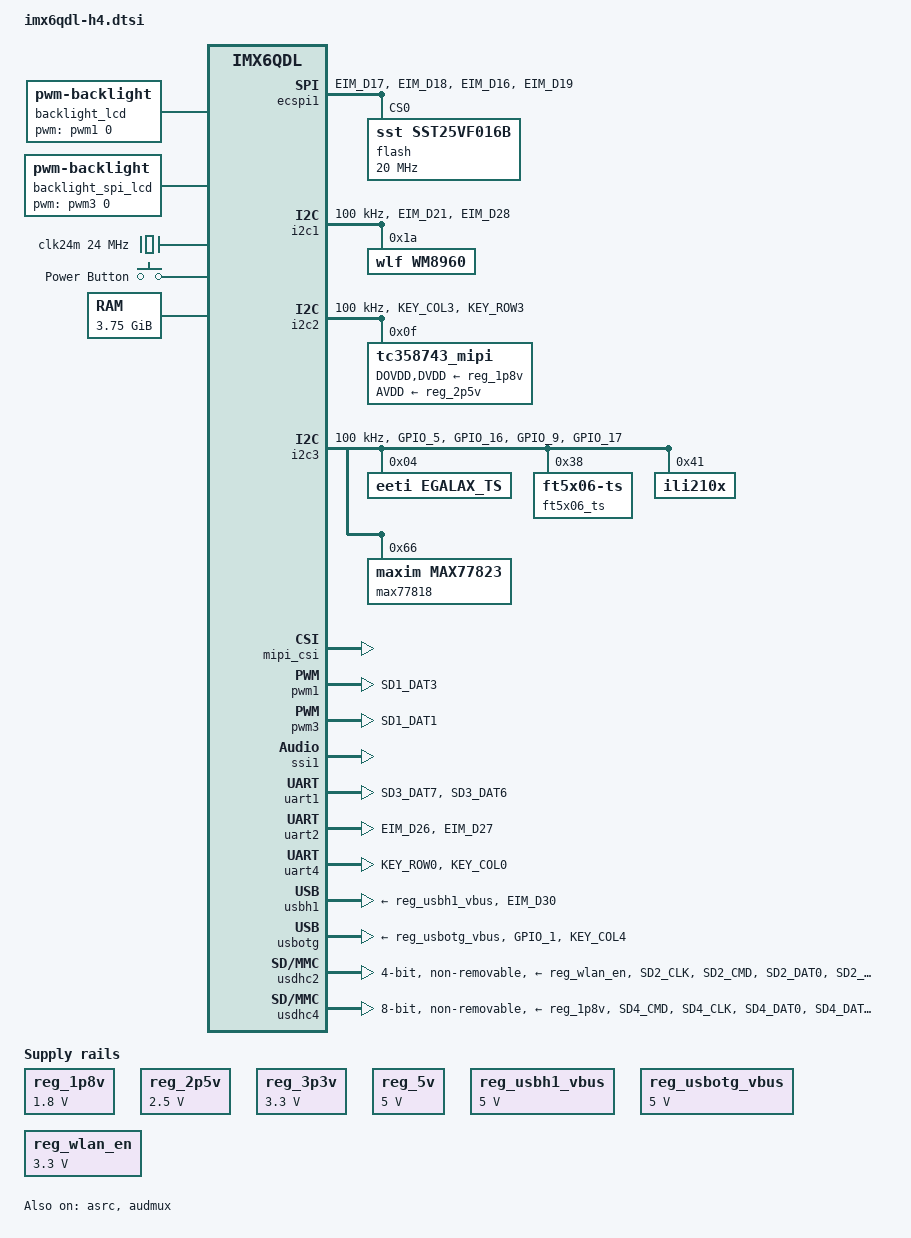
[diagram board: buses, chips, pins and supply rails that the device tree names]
/*
 * Copyright 2015 Boundary Devices
 *
 * The code contained herein is licensed under the GNU General Public
 * License. You may obtain a copy of the GNU General Public License
 * Version 2 or later at the following locations:
 *
 * http://www.opensource.org/licenses/gpl-license.html
 * http://www.gnu.org/copyleft/gpl.html
 */
#include <dt-bindings/gpio/gpio.h>
#include <dt-bindings/input/input.h>

&iomuxc {
	pinctrl-names = "default";
	pinctrl-0 = <&pinctrl_hog>;

	iomuxc_imx6q_h4: iomuxc-imx6q-h4grp {
		status = "okay";
	};
};

&iomuxc_imx6q_h4 {
	pinctrl_audmux3: audmux3grp {
		fsl,pins = <
			MX6QDL_PAD_CSI0_DAT7__AUD3_RXD		0x130b0
			MX6QDL_PAD_CSI0_DAT4__AUD3_TXC		0x130b0
			MX6QDL_PAD_CSI0_DAT5__AUD3_TXD		0x110b0
			MX6QDL_PAD_CSI0_DAT6__AUD3_TXFS		0x130b0
		>;
	};

	pinctrl_audmux5: audmux5grp {
		fsl,pins = <
			MX6QDL_PAD_KEY_ROW1__AUD5_RXD		0x130b0
			MX6QDL_PAD_EIM_D24__AUD5_RXFS		0x130b0
			MX6QDL_PAD_EIM_D25__AUD5_RXC		0x130b0
		>;
	};

	pinctrl_ecspi1: ecspi1grp {
		fsl,pins = <
			MX6QDL_PAD_EIM_D17__ECSPI1_MISO		0x100b1
			MX6QDL_PAD_EIM_D18__ECSPI1_MOSI		0x100b1
			MX6QDL_PAD_EIM_D16__ECSPI1_SCLK		0x100b1
#define GP_ECSPI1_NOR_CS	<&gpio3 19 GPIO_ACTIVE_LOW>
			MX6QDL_PAD_EIM_D19__GPIO3_IO19		0x0b0b1
		>;
	};

	pinctrl_ecspi2: ecspi2grp {
		fsl,pins = <
			MX6QDL_PAD_CSI0_DAT10__ECSPI2_MISO	0x100b1
			MX6QDL_PAD_CSI0_DAT9__ECSPI2_MOSI	0x100b1
			MX6QDL_PAD_CSI0_DAT8__ECSPI2_SCLK	0x100b1
#define GP_ECSPI2_CS		<&gpio5 29 GPIO_ACTIVE_LOW>
			MX6QDL_PAD_CSI0_DAT11__GPIO5_IO29	0x0b0b1
		>;
	};

	pinctrl_gpio_keys: gpio-keysgrp {
		fsl,pins = <
#define GP_GPIOKEY_POWER	<&gpio1 2 GPIO_ACTIVE_LOW>
			MX6QDL_PAD_GPIO_2__GPIO1_IO02		0x1b0b0
#define GP_GPIOKEY_1		<&gpio3 7 GPIO_ACTIVE_LOW>
			MX6QDL_PAD_EIM_DA7__GPIO3_IO07		0x1b0b0
#define GP_GPIOKEY_2		<&gpio3 8 GPIO_ACTIVE_LOW>
			MX6QDL_PAD_EIM_DA8__GPIO3_IO08		0x1b0b0
#define GP_GPIOKEY_3		<&gpio3 9 GPIO_ACTIVE_LOW>
			MX6QDL_PAD_EIM_DA9__GPIO3_IO09		0x1b0b0
#define GP_VBUS_GOOD		<&gpio3 15 GPIO_ACTIVE_LOW>
			MX6QDL_PAD_EIM_DA15__GPIO3_IO15		0x1b0b0
#define GP_SPARE		<&gpio1 16 GPIO_ACTIVE_LOW>
			MX6QDL_PAD_SD1_DAT0__GPIO1_IO16		0x1b0b0
		>;
	};

	pinctrl_hog: hoggrp {
		fsl,pins = <
#define GP_MAIN_POWER_EN	<&gpio1 19 GPIO_ACTIVE_HIGH>
			MX6QDL_PAD_SD1_DAT2__GPIO1_IO19		0x1b0b0
			MX6QDL_PAD_EIM_A25__HDMI_TX_CEC_LINE	0x1f8b0
#define GP_TP4			<&gpio4 20 GPIO_ACTIVE_LOW>
			MX6QDL_PAD_DI0_PIN4__GPIO4_IO20		0x1b0b0
#define GP_TP5			<&gpio4 17 GPIO_ACTIVE_LOW>
			MX6QDL_PAD_DI0_PIN15__GPIO4_IO17	0x1b0b0
#define GP_TP6			<&gpio1 18 GPIO_ACTIVE_LOW>
			MX6QDL_PAD_SD1_CMD__GPIO1_IO18		0x1b0b0
#define GP_TP7			<&gpio1 30 GPIO_ACTIVE_LOW>
			MX6QDL_PAD_ENET_TXD0__GPIO1_IO30	0x1b0b0
#define GP_TP8			<&gpio3 13 GPIO_ACTIVE_LOW>
			MX6QDL_PAD_EIM_DA13__GPIO3_IO13		0x1b0b0
#define GP_TP9			<&gpio3 14 GPIO_ACTIVE_LOW>
			MX6QDL_PAD_EIM_DA14__GPIO3_IO14		0x1b0b0
#define GP_TP10			<&gpio2 7 GPIO_ACTIVE_LOW>
			MX6QDL_PAD_NANDF_D7__GPIO2_IO07		0x1b0b0
		>;
	};

	pinctrl_i2c1: i2c1grp {
		fsl,pins = <
			MX6QDL_PAD_EIM_D21__I2C1_SCL		0x4001b8b1
			MX6QDL_PAD_EIM_D28__I2C1_SDA		0x4001b8b1
		>;
	};

	pinctrl_i2c1_wm8960: i2c1-wm8960grp {
		fsl,pins = <
			MX6QDL_PAD_GPIO_0__CCM_CLKO1		0x000b0		/* sys_mclk */
		>;
	};

	pinctrl_i2c2: i2c2grp {
		fsl,pins = <
			MX6QDL_PAD_KEY_COL3__I2C2_SCL		0x4001b8b1
			MX6QDL_PAD_KEY_ROW3__I2C2_SDA		0x4001b8b1
		>;
	};

	pinctrl_i2c2_tc358743_mipi: i2c2-tc358743_mipigrp {
		fsl,pins = <
#define GP_TC3587_RESET		<&gpio6 1 GPIO_ACTIVE_LOW>
			MX6QDL_PAD_CSI0_DAT15__GPIO6_IO01	0x030b0
#define GPIRQ_TC3587		<&gpio6 0 IRQ_TYPE_LEVEL_LOW>
			MX6QDL_PAD_CSI0_DAT14__GPIO6_IO00	0x0b0b0
#define GP_HDMI_POWER_DET	<&gpio4 8 GPIO_ACTIVE_HIGH>
			MX6QDL_PAD_KEY_COL1__GPIO4_IO08		0x1b0b0
			MX6QDL_PAD_GPIO_3__CCM_CLKO2		0x000b0
		>;
	};

	pinctrl_i2c3: i2c3grp {
		fsl,pins = <
			MX6QDL_PAD_GPIO_5__I2C3_SCL		0x4001b8b1
			MX6QDL_PAD_GPIO_16__I2C3_SDA		0x4001b8b1
#define GPIRQ_J8		<&gpio1 9 IRQ_TYPE_EDGE_FALLING>
#define GP_J8			<&gpio1 9 GPIO_ACTIVE_LOW>
			MX6QDL_PAD_GPIO_9__GPIO1_IO09		0x1b0b0
#define GP_J8_RESET		<&gpio7 12 GPIO_ACTIVE_LOW>
			MX6QDL_PAD_GPIO_17__GPIO7_IO12		0x1b0b0
		>;
	};

	pinctrl_i2c3_max77818: i2c3_max77818grp {
		fsl,pins = <
#define GPIRQ_MAX77818_INOKB		<&gpio3 4 IRQ_TYPE_LEVEL_LOW>
			MX6QDL_PAD_EIM_DA4__GPIO3_IO04		0x1b0b0
#define GPIRQ_MAX77818_WCINOKB		<&gpio3 5 IRQ_TYPE_LEVEL_LOW>
			MX6QDL_PAD_EIM_DA5__GPIO3_IO05		0x1b0b0
#define GPIRQ_MAX77818_INTB		<&gpio3 6 IRQ_TYPE_LEVEL_LOW>
			MX6QDL_PAD_EIM_DA6__GPIO3_IO06		0x1b0b0
		>;
	};

	pinctrl_lcd: lcdgrp {
		fsl,pins = <
			MX6QDL_PAD_DI0_DISP_CLK__IPU1_DI0_DISP_CLK	0x10
			MX6QDL_PAD_DI0_PIN2__IPU1_DI0_PIN02		0x10
			MX6QDL_PAD_DI0_PIN3__IPU1_DI0_PIN03		0x10
			MX6QDL_PAD_DISP0_DAT0__IPU1_DISP0_DATA00	0x10
			MX6QDL_PAD_DISP0_DAT1__IPU1_DISP0_DATA01	0x10
			MX6QDL_PAD_DISP0_DAT2__IPU1_DISP0_DATA02	0x10
			MX6QDL_PAD_DISP0_DAT3__IPU1_DISP0_DATA03	0x10
			MX6QDL_PAD_DISP0_DAT4__IPU1_DISP0_DATA04	0x10
			MX6QDL_PAD_DISP0_DAT5__IPU1_DISP0_DATA05	0x10
			MX6QDL_PAD_DISP0_DAT6__IPU1_DISP0_DATA06	0x10
			MX6QDL_PAD_DISP0_DAT7__IPU1_DISP0_DATA07	0x10
			MX6QDL_PAD_DISP0_DAT8__IPU1_DISP0_DATA08	0x10
			MX6QDL_PAD_DISP0_DAT9__IPU1_DISP0_DATA09	0x10
			MX6QDL_PAD_DISP0_DAT10__IPU1_DISP0_DATA10	0x10
			MX6QDL_PAD_DISP0_DAT11__IPU1_DISP0_DATA11	0x10
			MX6QDL_PAD_DISP0_DAT12__IPU1_DISP0_DATA12	0x10
			MX6QDL_PAD_DISP0_DAT13__IPU1_DISP0_DATA13	0x10
			MX6QDL_PAD_DISP0_DAT14__IPU1_DISP0_DATA14	0x10
			MX6QDL_PAD_DISP0_DAT15__IPU1_DISP0_DATA15	0x10
			MX6QDL_PAD_DISP0_DAT16__IPU1_DISP0_DATA16	0x10
			MX6QDL_PAD_DISP0_DAT17__IPU1_DISP0_DATA17	0x10
			MX6QDL_PAD_DISP0_DAT18__IPU1_DISP0_DATA18	0x10
			MX6QDL_PAD_DISP0_DAT19__IPU1_DISP0_DATA19	0x10
			MX6QDL_PAD_DISP0_DAT20__IPU1_DISP0_DATA20	0x10
			MX6QDL_PAD_DISP0_DAT21__IPU1_DISP0_DATA21	0x10
			MX6QDL_PAD_DISP0_DAT22__IPU1_DISP0_DATA22	0x10
			MX6QDL_PAD_DISP0_DAT23__IPU1_DISP0_DATA23	0x10
		>;
	};

	/* lcd backlight */
	pinctrl_pwm1: pwm1grp {
		fsl,pins = <
			MX6QDL_PAD_SD1_DAT3__PWM1_OUT		0x030b1
		>;
	};

	pinctrl_pwm2: pwm2grp {
		fsl,pins = <
			MX6QDL_PAD_SD1_DAT2__PWM2_OUT		0x030b1
		>;
	};

	/* spi lcd backlight */
	pinctrl_pwm3: pwm3grp {
		fsl,pins = <
			MX6QDL_PAD_SD1_DAT1__PWM3_OUT		0x030b1
		>;
	};

	pinctrl_reg_5v: reg-5vgrp {
		fsl,pins = <
#define GP_REG_5V	<&gpio3 3 GPIO_ACTIVE_HIGH>
			MX6QDL_PAD_EIM_DA3__GPIO3_IO03		0x030b0
		>;
	};

	pinctrl_reg_usbh1_vbus: reg-usbh1-vbusgrp {
		fsl,pins = <
#define GP_REG_USBH1	<&gpio2 19 GPIO_ACTIVE_HIGH>
			MX6QDL_PAD_EIM_A19__GPIO2_IO19		0x030b0
		>;
	};

	pinctrl_reg_usbotg_vbus: reg-usbotg-vbusgrp {
		fsl,pins = <
#define GP_REG_USBOTG	<&gpio3 22 GPIO_ACTIVE_HIGH>
			MX6QDL_PAD_EIM_D22__GPIO3_IO22		0x030b0
		>;
	};

	pinctrl_reg_wlan_en: reg-wlan-engrp {
		fsl,pins = <
#define GP_REG_WLAN_EN	<&gpio6 14 GPIO_ACTIVE_HIGH>
			MX6QDL_PAD_NANDF_CS1__GPIO6_IO14	0x030b0
		>;
	};

	pinctrl_uart1: uart1grp {
		fsl,pins = <
			MX6QDL_PAD_SD3_DAT7__UART1_TX_DATA	0x1b0b1
			MX6QDL_PAD_SD3_DAT6__UART1_RX_DATA	0x1b0b1
		>;
	};

	pinctrl_uart2: uart2grp {
		fsl,pins = <
			MX6QDL_PAD_EIM_D26__UART2_TX_DATA	0x1b0b1
			MX6QDL_PAD_EIM_D27__UART2_RX_DATA	0x1b0b1
		>;
	};

	pinctrl_uart4: uart4grp {
		fsl,pins = <
			MX6QDL_PAD_KEY_ROW0__UART4_TX_DATA	0x1b0b1
			MX6QDL_PAD_KEY_COL0__UART4_RX_DATA	0x1b0b1
		>;
	};

	pinctrl_usbh1: usbh1grp {
		fsl,pins = <
			MX6QDL_PAD_EIM_D30__USB_H1_OC		0x1b0b0
		>;
	};

	pinctrl_usbotg: usbotggrp {
		fsl,pins = <
			MX6QDL_PAD_GPIO_1__USB_OTG_ID		0x17059
			MX6QDL_PAD_KEY_COL4__USB_OTG_OC		0x1b0b0
		>;
	};

	/* Murata wifi */
	pinctrl_usdhc2: usdhc2grp {
		fsl,pins = <
			MX6QDL_PAD_SD2_CLK__SD2_CLK		0x10071
			MX6QDL_PAD_SD2_CMD__SD2_CMD		0x17071
			MX6QDL_PAD_SD2_DAT0__SD2_DATA0		0x17071
			MX6QDL_PAD_SD2_DAT1__SD2_DATA1		0x17071
			MX6QDL_PAD_SD2_DAT2__SD2_DATA2		0x17071
			MX6QDL_PAD_SD2_DAT3__SD2_DATA3		0x17071
			MX6QDL_PAD_SD1_CLK__OSC32K_32K_OUT	0x000b0		/* slow clock */
		>;
	};

	pinctrl_usdhc4: usdhc4grp {
		fsl,pins = <
			MX6QDL_PAD_SD4_CMD__SD4_CMD		0x17059
			MX6QDL_PAD_SD4_CLK__SD4_CLK		0x10059
			MX6QDL_PAD_SD4_DAT0__SD4_DATA0		0x17059
			MX6QDL_PAD_SD4_DAT1__SD4_DATA1		0x17059
			MX6QDL_PAD_SD4_DAT2__SD4_DATA2		0x17059
			MX6QDL_PAD_SD4_DAT3__SD4_DATA3		0x17059
			MX6QDL_PAD_SD4_DAT4__SD4_DATA4		0x17059
			MX6QDL_PAD_SD4_DAT5__SD4_DATA5		0x17059
			MX6QDL_PAD_SD4_DAT6__SD4_DATA6		0x17059
			MX6QDL_PAD_SD4_DAT7__SD4_DATA7		0x17059
		>;
	};

	pinctrl_wlan: wlangrp {
		fsl,pins = <
#define GPIRQ_WLAN	<&gpio6 11 IRQ_TYPE_LEVEL_HIGH>
			MX6QDL_PAD_NANDF_CS0__GPIO6_IO11	0x100b0
			MX6QDL_PAD_NANDF_CS2__GPIO6_IO15	0x100b0
		>;
	};
};

/ {
	aliases {
		backlight_lcd = &backlight_lcd;
		fb_lcd = &fb_lcd;
		lcd = &lcd;
		mmc0 = &usdhc4;
		mmc1 = &usdhc2;
		mxcfb0 = &fb_lcd;
		pwm_lcd = &pwm1;
	};

	backlight_lcd: backlight_lcd {
		brightness-levels = <0 10 20 30 40 50 60 70 80 90 100>;
		compatible = "pwm-backlight";
		default-brightness-level = <10>;
		display = <&fb_lcd>;
		pwms = <&pwm1 0 5000000>;
	};

	backlight_spi_lcd {
		brightness-levels = <0 10 20 30 40 50 60 70 80 90 100>;
		compatible = "pwm-backlight";
		default-brightness-level = <10>;
		display = <&fb_lcd>;
		pwms = <&pwm3 0 5000000>;
	};
/*
	backlight_spare: backlight_spare {
		brightness-levels = <0 10 20 30 40 50 60 70 80 90 100>;
		compatible = "pwm-backlight";
		default-brightness-level = <10>;
		pwms = <&pwm2 0 5000000>;
	};
*/
	clocks {
		clk24m: clk24m {
			compatible = "fixed-clock";
			#clock-cells = <0>;
			clock-frequency = <24000000>;
		};
	};

	fb_lcd: fb@0 {
		compatible = "fsl,mxc_sdc_fb";
		disp_dev = "lcd";
		interface_pix_fmt = "RGB666";
		default_bpp = <16>;
		int_clk = <0>;
		late_init = <0>;
		status = "disabled";
	};

	gpio-keys {
		compatible = "gpio-keys";
		pinctrl-names = "default";
		pinctrl-0 = <&pinctrl_gpio_keys>;

		power {
			label = "Power Button";
			gpios = GP_GPIOKEY_POWER;
			linux,code = <KEY_POWER>;	/* or KEY_SEARCH */
			gpio-key,wakeup;
		};
	};

	lcd: lcd@0 {
		compatible = "fsl,lcd";
		ipu_id = <0>;
		disp_id = <0>;
		default_ifmt = "RGB24";
		pinctrl-names = "default";
		pinctrl-0 = <&pinctrl_lcd>;
		status = "okay";
	};

	memory {
		reg = <0x10000000 0xeffffc00>;
	};

	regulators {
		compatible = "simple-bus";
		#address-cells = <1>;
		#size-cells = <0>;

		reg_1p8v: regulator@0 {
			compatible = "regulator-fixed";
			reg = <0>;
			regulator-name = "1P8V";
			regulator-min-microvolt = <1800000>;
			regulator-max-microvolt = <1800000>;
			regulator-always-on;
		};

		reg_2p5v: regulator@1 {
			compatible = "regulator-fixed";
			reg = <1>;
			regulator-name = "2P5V";
			regulator-min-microvolt = <2500000>;
			regulator-max-microvolt = <2500000>;
			regulator-always-on;
		};

		reg_3p3v: regulator@2 {
			compatible = "regulator-fixed";
			reg = <2>;
			regulator-name = "3P3V";
			regulator-min-microvolt = <3300000>;
			regulator-max-microvolt = <3300000>;
			regulator-always-on;
		};

		reg_5v: regulator@3 {
			compatible = "regulator-fixed";
			reg = <3>;
			pinctrl-names = "default";
			pinctrl-0 = <&pinctrl_reg_5v>;
			regulator-name = "5V";
			regulator-min-microvolt = <5000000>;
			regulator-max-microvolt = <5000000>;
			gpio = GP_REG_5V;
			enable-active-high;
			regulator-always-on;
		};

		reg_usbh1_vbus: regulator@4 {
			compatible = "regulator-fixed";
			reg = <4>;
			pinctrl-names = "default";
			pinctrl-0 = <&pinctrl_reg_usbh1_vbus>;
			regulator-name = "usbh1_vbus";
			regulator-min-microvolt = <5000000>;
			regulator-max-microvolt = <5000000>;
			gpio = GP_REG_USBH1;
			enable-active-high;
		};

		reg_usbotg_vbus: regulator@5 {
			compatible = "regulator-fixed";
			reg = <5>;
			pinctrl-names = "default";
			pinctrl-0 = <&pinctrl_reg_usbotg_vbus>;
			regulator-name = "usbotg_vbus";
			regulator-min-microvolt = <5000000>;
			regulator-max-microvolt = <5000000>;
			gpio = GP_REG_USBOTG;
			enable-active-high;
		};

		reg_wlan_en: regulator@6 {
			compatible = "regulator-fixed";
			reg = <6>;
			pinctrl-names = "default";
			pinctrl-0 = <&pinctrl_reg_wlan_en>;
			regulator-name = "wlan-en";
			regulator-min-microvolt = <3300000>;
			regulator-max-microvolt = <3300000>;
			gpio = GP_REG_WLAN_EN;
			startup-delay-us = <70000>;
			enable-active-high;
		};
	};

	sound {
		compatible = "fsl,imx6q-h4-wm8960",
			     "fsl,imx-audio-wm8960";
		model = "wm8960-audio";
		cpu-dai = <&ssi1>;
		audio-codec = <&wm8960>;
#ifdef USE_ASRC
		asrc-controller = <&asrc>;
#endif
		codec-master;
		hp-det = <4 0>;
		audio-routing =
			"Ext Spk", "SPK_LP",
			"Ext Spk", "SPK_LN"
#ifdef USE_ASRC
			,"CPU-Playback", "ASRC-Playback",
			"Playback", "CPU-Playback",
			"ASRC-Capture", "CPU-Capture",
			"CPU-Capture", "Capture"
#endif
			;
		mux-int-port = <1>;
		mux-ext-port = <3>;
	};

	v4l2_cap_0 {
		compatible = "fsl,imx6q-v4l2-capture";
		ipu_id = <0>;
		csi_id = <0>;
		mipi_camera = <1>;
		mclk_source = <0>;
		status = "okay";
	};

	v4l2_out {
		compatible = "fsl,mxc_v4l2_output";
		status = "okay";
	};

	wlan {
		compatible = "murata";
		pinctrl-names = "default";
		pinctrl-0 = <&pinctrl_wlan>;
		interrupts-extended = GPIRQ_WLAN; 
	};
};

#ifdef USE_ASRC
&asrc {
	status = "okay";
};
#endif

&audmux {
	pinctrl-names = "default";
	pinctrl-0 = <&pinctrl_audmux3>;
	status = "okay";
};

&clks {
	assigned-clocks        = <&clks IMX6QDL_CLK_IPU2_SEL>,      <&clks IMX6QDL_CLK_IPU2_PODF>, <&clks IMX6QDL_CLK_CKO2_PODF>, <&clks IMX6QDL_CLK_CKO2_SEL>;
	assigned-clock-parents = <&clks IMX6QDL_CLK_PLL3_PFD1_540M>, <&clks IMX6QDL_CLK_IPU2_SEL>, <&clks IMX6QDL_CLK_CKO2_SEL>, <&clks IMX6QDL_CLK_IPU2>;
	assigned-clock-rates = <0>, <135000000>, <27000000>;
};

&ecspi1 {
	pinctrl-names = "default";
	pinctrl-0 = <&pinctrl_ecspi1>;
	fsl,spi-num-chipselects = <1>;
	cs-gpios = GP_ECSPI1_NOR_CS;
	status = "okay";

	flash: m25p80@0 {
		compatible = "sst,sst25vf016b";
		spi-max-frequency = <20000000>;
		reg = <0>;
		#address-cells = <1>;
		#size-cells = <1>;
		mtd@00000000 {
			label = "U-Boot";
			reg = <0x0 0xC0000>;
		};

		mtd@000C0000 {
			label = "env";
			reg = <0xC0000 0x2000>;
		};
		mtd@000C2000 {
			label = "splash";
			reg = <0xC2000 0x13e000>;
		};
	};
};

&i2c1 {
	clock-frequency = <100000>;
	pinctrl-names = "default";
	pinctrl-0 = <&pinctrl_i2c1>;
	status = "okay";

	wm8960: wm8960@1a {
		compatible = "wlf,wm8960";
		pinctrl-names = "default";
		pinctrl-0 = <&pinctrl_i2c1_wm8960>;
		reg = <0x1a>;
		clock-names = "mclk";
		wlf,shared-lrclk;
		clocks = <&clks IMX6QDL_CLK_CKO>;
		assigned-clocks =        <&clks IMX6QDL_CLK_CKO1_SEL>,  <&clks IMX6QDL_CLK_CKO1_PODF>, <&clks IMX6QDL_CLK_CKO>;
		assigned-clock-parents = <&clks IMX6QDL_CLK_PLL4_AUDIO_DIV>, <&clks IMX6QDL_CLK_CKO1_SEL>, <&clks IMX6QDL_CLK_CKO1>;
		assigned-clock-rates = <0>, <12000000>;
	};
};

&i2c2 {
	clock-frequency = <100000>;
	pinctrl-names = "default";
	pinctrl-0 = <&pinctrl_i2c2>;
	status = "okay";

	tc358743_mipi: tc358743_mipi@0f {
		compatible = "tc358743_mipi";
		reg = <0x0f>;
		pinctrl-names = "default";
		pinctrl-0 = <&pinctrl_i2c2_tc358743_mipi>;
		clocks = <&clks IMX6QDL_CLK_CKO2>;
		clock-names = "csi_mclk";
		DOVDD-supply = <&reg_1p8v>;
		AVDD-supply = <&reg_2p5v>;
		DVDD-supply = <&reg_1p8v>;
		rst-gpios = GP_TC3587_RESET;
		interrupts-extended = GPIRQ_TC3587;
		ipu_id = <0>;
		csi_id = <0>;
		mclk = <22000000>;
		mclk_source = <0>;
	};
};

&i2c3 {
	clock-frequency = <100000>;
	pinctrl-names = "default";
	pinctrl-0 = <&pinctrl_i2c3>;
	status = "okay";

	egalax_ts@04 {
		compatible = "eeti,egalax_ts";
		reg = <0x04>;
		interrupts-extended = GPIRQ_J8;
		wakeup-gpios = GP_J8;
	};

	ft5x06_ts@38 {
		compatible = "ft5x06-ts";
		reg = <0x38>;
		interrupts-extended = GPIRQ_J8;
		wakeup-gpios = GP_J8;
	};

	ili210x@41 {
		compatible = "ili210x";
		reg = <0x41>;
		interrupts-extended = GPIRQ_J8;
		wakeup-gpios = GP_J8;
	};

	max77818@66 {
		compatible = "maxim,max77823";
		pinctrl-names = "default";
		pinctrl-0 = <&pinctrl_i2c3_max77818>;
		reg = <0x66>;
		interrupts-extended = GPIRQ_MAX77818_INTB;
		max77823,irq-gpio = GPIRQ_MAX77818_INTB;
		max77823,wakeup = <1>;
		max77823_battery: battery {
			compatible = "samsung,sec-battery";
		};

		max77823_charger: charger {
			compatible = "samsung,max77823-charger";
		};

		max77823_fuelgauge: fuelgauge {
			compatible = "samsung,max77823-fuelgauge";
		};
	};
};

&max77823_battery {
	status = "okay";
	battery,vendor = "SDI SDI";
	battery,charger_name = "max77823-charger";
	battery,fuelgauge_name = "max77823-fuelgauge";
	battery,technology = <2>; /* POWER_SUPPLY_TECHNOLOGY_LION */
	battery,bat_irq_attr = <0x3>;

	battery,chip_vendor = "QCOM";
	battery,temp_adc_type = <1>; /* SEC_BATTERY_ADC_TYPE_AP */

	battery,polling_time = <10 30 30 30 3600>;

	battery,adc_check_count = <6>;

	/* SEC_BATTERY_CABLE_CHECK_PSY | SEC_BATTERY_CABLE_CHECK_NOINCOMPATIBLECHARGE */
	battery,cable_check_type = <6>;
	battery,cable_source_type = <1>; /* SEC_BATTERY_CABLE_SOURCE_EXTERNAL */
	battery,event_check;
	battery,event_waiting_time = <600>;
	battery,polling_type = <1>; /* SEC_BATTERY_MONITOR_ALARM */
	battery,monitor_initial_count = <3>;

	battery,battery_check_type = <6>; /* SEC_BATTERY_CHECK_INT */
	battery,check_count = <0>;
	battery,check_adc_max = <1440>;
	battery,check_adc_min = <0>;

	battery,ovp_uvlo_check_type = <3>; /* SEC_BATTERY_OVP_UVLO_CHGPOLLING */

	battery,thermal_source = <0>; /* SEC_BATTERY_THERMAL_SOURCE_FG */

	battery,temp_check_type = <0>; /* SEC_BATTERY_TEMP_CHECK_NONE */
	battery,temp_check_count = <1>;
	battery,full_check_type = <7>; /* SEC_BATTERY_FULLCHARGED_CHGPSY */
	battery,full_check_type_2nd = <3>; /* SEC_BATTERY_FULLCHARGED_TIME */
	battery,full_check_count = <1>;
	battery,chg_gpio_full_check = <0>;
	battery,chg_polarity_full_check = <1>;

	/* SEC_BATTERY_FULL_CONDITION_SOC |
	   SEC_BATTERY_FULL_CONDITION_NOTIMEFULL |
	   SEC_BATTERY_FULL_CONDITION_VCELL */
	battery,full_condition_type = <13>;
	battery,full_condition_soc = <97>;
	battery,full_condition_vcell = <4350000>;

	battery,recharge_check_count = <1>;
	battery,recharge_condition_type = <4>; /* SEC_BATTERY_RECHARGE_CONDITION_VCELL */
	battery,recharge_condition_soc = <98>;
	battery,recharge_condition_vcell = <4350000>;

	battery,charging_total_time = <21600>;
	battery,recharging_total_time = <5400>;
	battery,charging_reset_time = <0>;
};

&max77823_charger {
	battery,charger_name = "max77823-charger";
	battery,chg_gpio_en = <0>;
	battery,chg_polarity_en = <0>;
	battery,chg_gpio_status = <0>;
	battery,chg_polarity_status = <0>;
	battery,chg_float_voltage = <4400>;
	battery,ovp_uvlo_check_type = <3>; /* SEC_BATTERY_OVP_UVLO_CHGPOLLING */
	battery,full_check_type = <7>; /* SEC_BATTERY_FULLCHARGED_CHGPSY */

	battery,input_current_limit    = <1800 460  460 4000  460  900 1000  460 460 1000  760 1800 1800 460 1300  300  700 1300 1800  300   80 1800 460 1000 1633 1000 1000 4000>;
	battery,fast_charging_current  = <2100   0  460 2100  460 1200 1000  460   0 1200  900 2100 2100   0 1300  300  700 1300 1800  300   80 2100   0 1000 2800 1000 1000 1000>;
	battery,full_check_current_1st = <200    0  200  200  200  200  200  200   0  200  200  200  200   0  200  200  200  200  200  200  200  200   0  200  200  200  200  200>;
	battery,full_check_current_2nd = <2400   0 2400 2400 2400 2400 2400 2400   0 2400 2400 2400 2400   0 2400 2400 2400 2400 2400 2400 2400 2400   0 2400 2400 2400 2400 2400>;
	usbotg-supply = <&reg_usbotg_vbus>;
};

&max77823_fuelgauge {
	compatible = "samsung,max77823-fuelgauge";
	fuelgauge,capacity_max = <990>;
	fuelgauge,capacity_max_margin = <50>;
	fuelgauge,capacity_min = <0>;
	fuelgauge,capacity_calculation_type = <0x17>;
	fuelgauge,fuel_alert_soc = <1>;
	empty_detect_voltage = <2900>;
	empty_recovery_voltage = <3100>;
	/* fuelgauge,repeated_fuelalert; */
	temp-disabled;
	temp-calibration = <0 (-6763) 9858>;
	/* if temp-calibration defined, temp-calibration-data not used */
	temp-calibration-data = <250 0x7cde
				 255 0x7c50
				 260 0x7aa0
				 265 0x792e
				 270 0x788e
				 275 0x7714
				 280 0x761a
				 285 0x7536
				 290 0x73ca
				 295 0x7326
				 300 0x726c
				 305 0x71cc
				 310 0x71b2
				 315 0x70a4
				 320 0x6f6a
				 325 0x6eae
				 330 0x6a2e
				 335 0x6800
				 340 0x673c
				 345 0x665a
				 350 0x65b4
				 355 0x6478
				 360 0x6318
				 365 0x6270
				 370 0x614e
				 375 0x5f56
				 380 0x5ed2
				 385 0x5d9e
				 390 0x5b38
				 395 0x5ae0
				 400 0x59ce
				 405 0x57b2
				 410 0x55f2
				 415 0x53c2
				 420 0x505a>;
};

&mipi_csi {
	ipu_id = <0>;
	csi_id = <1>;
	v_channel = <0>;
	lanes = <2>;
	status = "okay";
};

&pwm1 {
	pinctrl-names = "default";
	pinctrl-0 = <&pinctrl_pwm1>;
	status = "okay";
};
/*
&pwm2 {
	pinctrl-names = "default";
	pinctrl-0 = <&pinctrl_pwm2>;
	status = "okay";
};
*/

&pwm3 {
	pinctrl-names = "default";
	pinctrl-0 = <&pinctrl_pwm3>;
	status = "okay";
};

&ssi1 {
	fsl,mode = "i2s-slave";
	status = "okay";
};

&uart1 {
	pinctrl-names = "default";
	pinctrl-0 = <&pinctrl_uart1>;
	status = "okay";
};

&uart2 {
	pinctrl-names = "default";
	pinctrl-0 = <&pinctrl_uart2>;
	status = "okay";
};

&uart4 {
	pinctrl-names = "default";
	pinctrl-0 = <&pinctrl_uart4>;
	status = "okay";
};

&usbh1 {
	vbus-supply = <&reg_usbh1_vbus>;
	pinctrl-names = "default";
	pinctrl-0 = <&pinctrl_usbh1>;
	disable-over-current;
	status = "okay";
};

&usbotg {
	vbus-supply = <&reg_usbotg_vbus>;
	pinctrl-names = "default";
	pinctrl-0 = <&pinctrl_usbotg>;
	disable-over-current;
	status = "okay";
};

&usdhc2 {	/* uSDHC2, wlan */
	pinctrl-names = "default";
	pinctrl-0 = <&pinctrl_usdhc2>;
	bus-width = <4>;
	non-removable;
	vmmc-supply = <&reg_wlan_en>;
	vqmmc-1-8-v;
	cap-power-off-card;
	keep-power-in-suspend;
	status = "okay";
};

&usdhc4 {
	pinctrl-names = "default";
	pinctrl-0 = <&pinctrl_usdhc4>;
	bus-width = <8>;
	non-removable;
	vqmmc-1-8-v;
	vmmc-supply = <&reg_1p8v>;
	keep-power-in-suspend;
	status = "okay";
};
